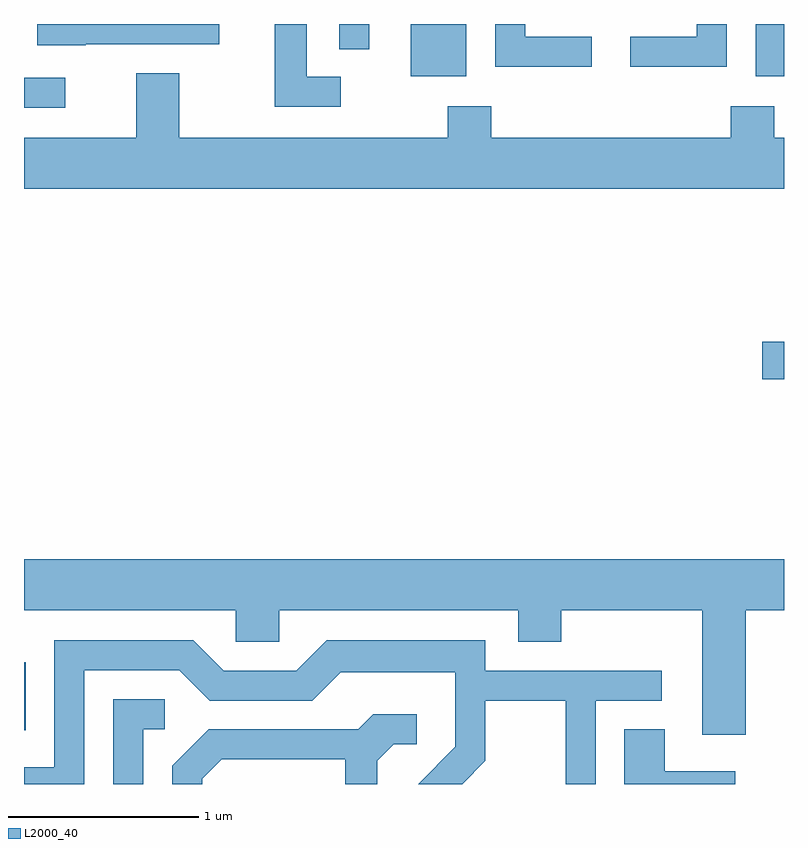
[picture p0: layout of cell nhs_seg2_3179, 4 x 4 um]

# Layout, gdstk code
import gdstk
lib = gdstk.Library(unit=1e-6, precision=1e-09)
def R(c, l, rs):  # rectangles x0, y0, x1, y1
    for r in rs: c.add(gdstk.rectangle(r[:2], r[2:], *l))
def P(c, l, *ps):  # polygons
    for p in ps: c.add(gdstk.Polygon(p, *l))
L2000_40 = (2000, 40)

nhs_seg2_3179 = lib.new_cell('nhs_seg2_3179')
R(nhs_seg2_3179, L2000_40, [(277.611,1092.086,277.619,1092.443), (281.496,1093.931,281.611,1094.129), (277.611,1095.361,277.828,1095.519), (279.646,1095.526,279.939,1095.802), (281.461,1095.526,281.611,1095.802), (279.271,1095.668,279.429,1095.802)])
P(nhs_seg2_3179, L2000_40, [(280.598,1095.734),(280.249,1095.734),(280.249,1095.802),(280.091,1095.802),(280.091,1095.576),(280.598,1095.576)],
  [(279.278,1095.524),(279.099,1095.524),(279.099,1095.802),(278.931,1095.802),(278.931,1095.366),(279.278,1095.366)],
  [(281.309,1095.802),(281.151,1095.802),(281.151,1095.734),(280.803,1095.734),(280.803,1095.576),(281.309,1095.576)],
  [(277.935,1095.696),(278.639,1095.696),(278.639,1095.802),(277.681,1095.802),(277.681,1095.691),(277.935,1095.691)],
  [(281.611,1095.204),(281.559,1095.204),(281.559,1095.369),(281.331,1095.369),(281.331,1095.204),(280.069,1095.204),(280.069,1095.369),(279.841,1095.369),(279.841,1095.204),(278.429,1095.204),(278.429,1095.544),(278.201,1095.544),(278.201,1095.204),(277.611,1095.204),(277.611,1094.936),(281.611,1094.936)],
  [(281.409,1092.716),(281.611,1092.716),(281.611,1092.984),(277.611,1092.984),(277.611,1092.716),(278.726,1092.716),(278.726,1092.551),(278.954,1092.551),(278.954,1092.716),(280.211,1092.716),(280.211,1092.551),(280.439,1092.551),(280.439,1092.716),(281.181,1092.716),(281.181,1092.061),(281.409,1092.061)],
  [(277.929,1092.401),(278.429,1092.401),(278.589,1092.241),(279.127,1092.241),(279.277,1092.391),(279.881,1092.391),(279.881,1091.997),(279.686,1091.802),(279.917,1091.802),(280.039,1091.924),(280.039,1092.241),(280.461,1092.241),(280.461,1091.802),(280.619,1091.802),(280.619,1092.241),(280.968,1092.241),(280.968,1092.399),(280.039,1092.399),(280.039,1092.559),(279.204,1092.559),(279.044,1092.399),(278.662,1092.399),(278.502,1092.559),(277.771,1092.559),(277.771,1091.889),(277.611,1091.889),(277.611,1091.802),(277.929,1091.802)],
  [(278.239,1092.091),(278.353,1092.091),(278.353,1092.249),(278.081,1092.249),(278.081,1091.802),(278.239,1091.802)],
  [(278.549,1091.829),(278.652,1091.931),(279.301,1091.931),(279.301,1091.802),(279.469,1091.802),(279.469,1091.924),(279.557,1092.011),(279.678,1092.011),(279.678,1092.169),(279.449,1092.169),(279.369,1092.089),(278.584,1092.089),(278.391,1091.897),(278.391,1091.802),(278.549,1091.802)],
  [(281.354,1091.869),(280.984,1091.869),(280.984,1092.089),(280.771,1092.089),(280.771,1091.802),(281.354,1091.802)])

lib.write_gds('nhs_seg2_3179.gds')
